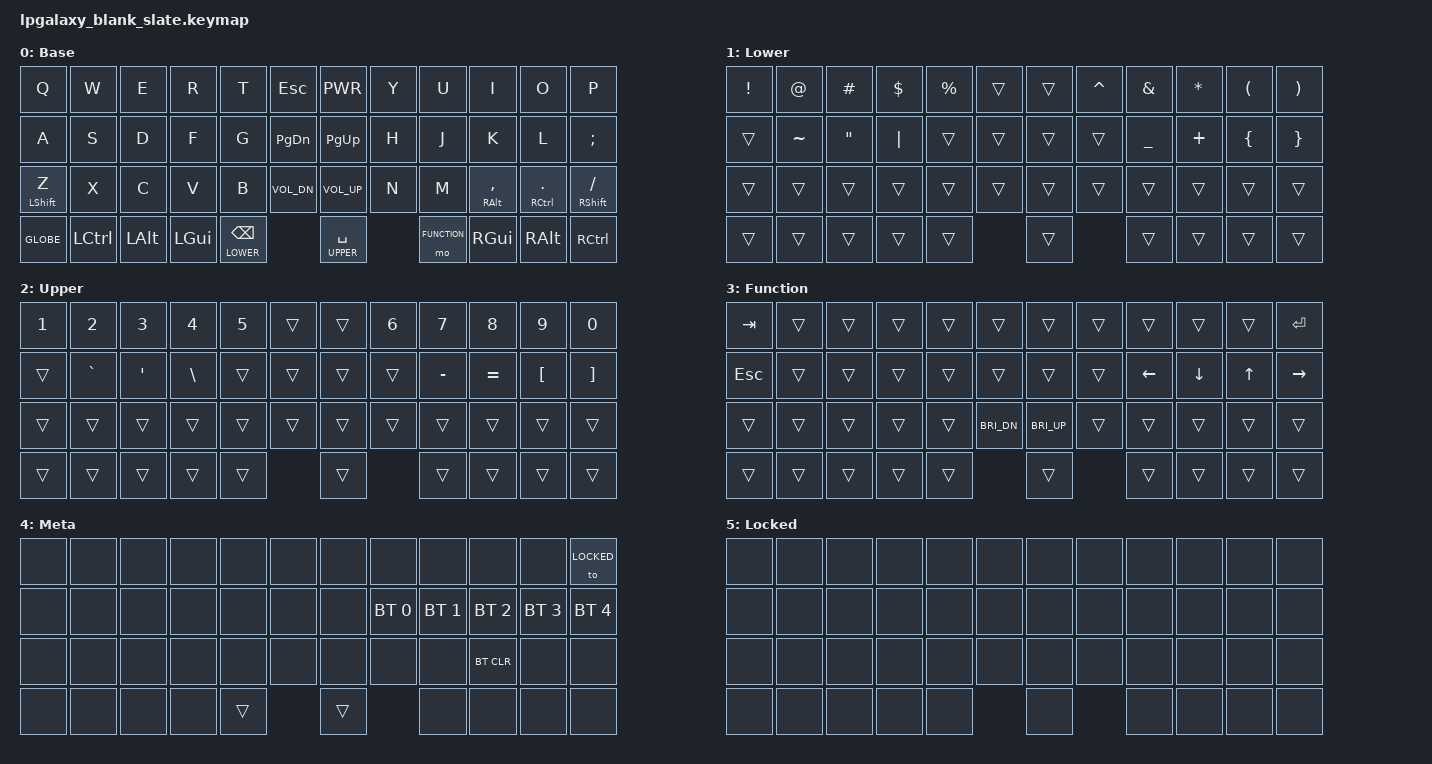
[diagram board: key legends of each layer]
#include <dt-bindings/zmk/keys.h>
#include <dt-bindings/zmk/bt.h>

#include "keymap.dtsi"

/ {
    chosen {
       zmk,matrix_transform = &dual_2u_transform;
    };

    UNLOCK_COMBO(<11 40 41>)

    keymap {
        compatible = "zmk,keymap";

        base {
            label = "Base";
            bindings = <
&kp Q       &kp W     &kp E    &kp R     &kp T          &kp ESC      &kp C_PWR       &kp Y &kp U        &kp I          &kp O         &kp P
&kp A       &kp S     &kp D    &kp F     &kp G          &kp PG_DN    &kp PG_UP       &kp H &kp J        &kp K          &kp L         &kp SEMI
&mt LSHFT Z &kp X     &kp C    &kp V     &kp B          &kp C_VOL_DN &kp C_VOL_UP    &kp N &kp M        &mt RALT COMMA &mt RCTRL DOT &mt RSHFT SLASH
&kp GLOBE   &kp LCTRL &kp LALT &kp LGUI  &lt LOWER BSPC              &lt UPPER SPACE       &mo FUNCTION &kp RGUI       &kp RALT      &kp RCTRL
            >;
        };

        lower {
            label = "Lower";
            bindings = <
&kp EXCL &kp AT    &kp HASH &kp DLLR &kp PRCNT &trans &trans &kp CARET &kp AMPS  &kp ASTRK &kp LPAR &kp RPAR
&trans   &kp TILDE &kp DQT  &kp PIPE &trans    &trans &trans &trans    &kp UNDER &kp PLUS  &kp LBRC &kp RBRC
&trans   &trans    &trans   &trans   &trans    &trans &trans &trans    &trans    &trans    &trans   &trans
&trans   &trans    &trans   &trans   &trans           &trans           &trans    &trans    &trans   &trans
            >;
        };

        upper {
            label = "Upper";
            bindings = <
&kp N1 &kp N2    &kp N3  &kp N4   &kp N5 &trans &trans &kp N6 &kp N7    &kp N8    &kp N9   &kp N0
&trans &kp GRAVE &kp SQT &kp BSLH &trans &trans &trans &trans &kp MINUS &kp EQUAL &kp LBKT &kp RBKT
&trans &trans    &trans  &trans   &trans &trans &trans &trans &trans    &trans    &trans   &trans
&trans &trans    &trans  &trans   &trans        &trans        &trans    &trans    &trans   &trans
            >;
        };

        function {
            label = "Function";
            bindings = <
&kp TAB &trans &trans &trans &trans &trans       &trans       &trans &trans   &trans   &trans &kp ENTER
&kp ESC &trans &trans &trans &trans &trans       &trans       &trans &kp LEFT &kp DOWN &kp UP &kp RIGHT
&trans  &trans &trans &trans &trans &kp C_BRI_DN &kp C_BRI_UP &trans &trans   &trans   &trans &trans
&trans  &trans &trans &trans &trans              &trans              &trans &trans   &trans   &trans
            >;
        };

        meta {
            label = "Meta";
            bindings = <
&none &none &none &none &none &none  &none  &none        &none        &none        &none        &to LOCKED
&none &none &none &none &none &none  &none  &bt BT_SEL 0 &bt BT_SEL 1 &bt BT_SEL 2 &bt BT_SEL 3 &bt BT_SEL 4
&none &none &none &none &none &none  &none  &none        &none        &bt BT_CLR   &none        &none
&none &none &none &none &trans       &trans              &none        &none        &none        &none
            >;
        };

        locked {
            label = "Locked";
            bindings = <
&none &none &none &none &none &none &none &none &none &none &none &none
&none &none &none &none &none &none &none &none &none &none &none &none
&none &none &none &none &none &none &none &none &none &none &none &none
&none &none &none &none &none       &none       &none &none &none &none
            >;
        };
    };
};

